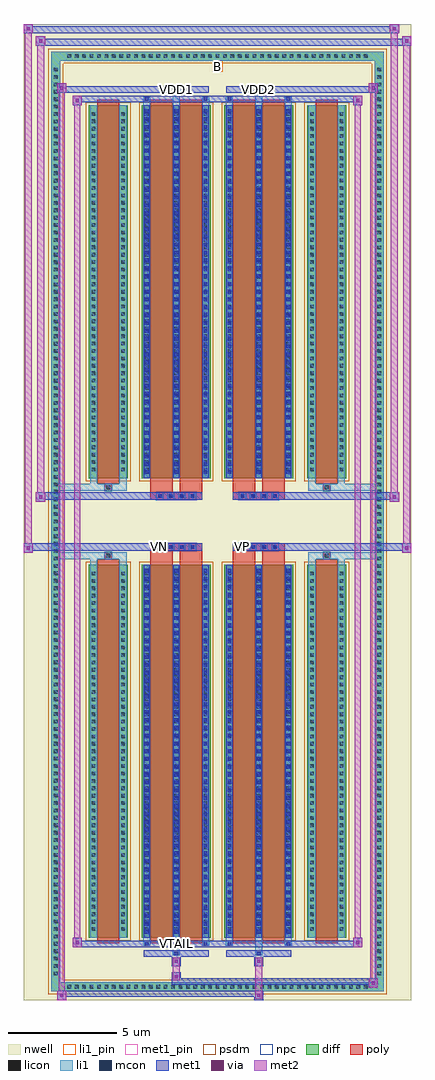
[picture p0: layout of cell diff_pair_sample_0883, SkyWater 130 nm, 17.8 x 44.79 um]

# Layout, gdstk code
import gdstk
lib = gdstk.Library(unit=1e-6, precision=5e-09)
def R(c, l, rs):  # rectangles x0, y0, x1, y1
    for r in rs: c.add(gdstk.rectangle(r[:2], r[2:], *l))
def A(c, l, x, y, w, h, nx, ny, dx, dy):  # array of equal rectangles
    R(c, l, [(x+i*dx, y+j*dy, x+i*dx+w, y+j*dy+h) for i in range(nx) for j in range(ny)])
def P(c, l, *ps):  # polygons
    for p in ps: c.add(gdstk.Polygon(p, *l))
nwell = (64, 20)
diff = (65, 20)
poly = (66, 20)
licon = (66, 44)
li1_pin = (67, 16)
li1 = (67, 20)
mcon = (67, 44)
met1_pin = (68, 16)
met1 = (68, 20)
via = (68, 44)
met2 = (69, 20)
psdm = (94, 20)
npc = (95, 20)

diff_pair_sample_0883 = lib.new_cell('diff_pair_sample_0883')
R(diff_pair_sample_0883, nwell, [(-8.9,-21.96,8.9,22.83), (-6.22,-20.15,-0.01,-0.805), (0.01,-20.15,6.22,-0.805), (-6.22,0.805,-0.01,20.15), (0.01,0.805,6.22,20.15)])
A(diff_pair_sample_0883, diff, -7.005, -21.56, 0.41, 0.41, 41, 2, 0.34, 42.71)
A(diff_pair_sample_0883, diff, -7.63, -20.945, 0.41, 0.41, 1, 123, 0, 0.34)
A(diff_pair_sample_0883, diff, 7.22, -20.945, 0.41, 0.41, 1, 123, 0, 0.34)
R(diff_pair_sample_0883, diff, [(-7.005,-21.56,7.005,-21.15), (-7.63,-20.945,-7.22,20.945), (7.22,-20.945,7.63,20.945), (-5.91,-19.105,-4.11,-1.985), (-3.47,-19.105,-0.32,-1.985), (0.32,-19.105,3.47,-1.985), (4.11,-19.105,5.91,-1.985), (-5.91,1.985,-4.11,19.105), (-3.47,1.985,-0.32,19.105), (0.32,1.985,3.47,19.105), (4.11,1.985,5.91,19.105), (-7.005,21.15,7.005,21.56)])
P(diff_pair_sample_0883, diff, [(7.63,21.56),(-7.63,21.56),(-7.63,-21.15),(-7.22,-21.15),(-7.22,21.15),(7.22,21.15),(7.22,-21.15),(-7.22,-21.15),(-7.63,-21.15),(-7.63,-21.56),(7.63,-21.56)])
A(diff_pair_sample_0883, poly, -2.81, -1.335, 0.33, 0.33, 4, 2, 0.5, 2.34)
A(diff_pair_sample_0883, poly, 0.98, -1.335, 0.33, 0.33, 4, 2, 0.5, 2.34)
R(diff_pair_sample_0883, poly, [(-5.52,-19.355,-4.5,-1.735), (-3.08,-19.355,-2.06,-1.735), (-1.73,-19.355,-0.71,-1.735), (0.71,-19.355,1.73,-1.735), (2.06,-19.355,3.08,-1.735), (4.5,-19.355,5.52,-1.735), (-5.175,-1.735,-4.845,-1.405), (-5.175,-1.735,-4.845,-1.405), (-3.08,-1.735,-2.06,-1.335), (-1.73,-1.735,-0.71,-1.335), (0.71,-1.735,1.73,-1.335), (2.06,-1.735,3.08,-1.335), (4.845,-1.735,5.175,-1.405), (4.845,-1.735,5.175,-1.405), (-3.08,-1.335,-0.71,-1.005), (0.71,-1.335,3.08,-1.005), (-3.08,1.005,-0.71,1.335), (0.71,1.005,3.08,1.335), (-3.08,1.335,-2.06,1.735), (-1.73,1.335,-0.71,1.735), (0.71,1.335,1.73,1.735), (2.06,1.335,3.08,1.735), (-5.175,1.405,-4.845,1.735), (-5.175,1.405,-4.845,1.735), (4.845,1.405,5.175,1.735), (4.845,1.405,5.175,1.735), (-5.52,1.735,-4.5,19.355), (-3.08,1.735,-2.06,19.355), (-1.73,1.735,-0.71,19.355), (0.71,1.735,1.73,19.355), (2.06,1.735,3.08,19.355), (4.5,1.735,5.52,19.355)])
A(diff_pair_sample_0883, licon, -6.885, -21.44, 0.17, 0.17, 41, 2, 0.34, 42.71)
A(diff_pair_sample_0883, licon, -7.51, -20.825, 0.17, 0.17, 1, 123, 0, 0.34)
A(diff_pair_sample_0883, licon, 7.34, -20.825, 0.17, 0.17, 1, 123, 0, 0.34)
A(diff_pair_sample_0883, licon, -5.77, -18.79, 0.17, 0.17, 1, 49, 0, 0.34)
A(diff_pair_sample_0883, licon, -4.42, -18.79, 0.17, 0.17, 1, 49, 0, 0.34)
A(diff_pair_sample_0883, licon, -3.33, -18.79, 0.17, 0.17, 3, 49, 1.35, 0.34)
A(diff_pair_sample_0883, licon, 0.46, -18.79, 0.17, 0.17, 3, 49, 1.35, 0.34)
A(diff_pair_sample_0883, licon, 4.25, -18.79, 0.17, 0.17, 1, 49, 0, 0.34)
A(diff_pair_sample_0883, licon, 5.6, -18.79, 0.17, 0.17, 1, 49, 0, 0.34)
A(diff_pair_sample_0883, licon, -2.73, -1.255, 0.17, 0.17, 4, 2, 0.5, 2.34)
A(diff_pair_sample_0883, licon, 1.06, -1.255, 0.17, 0.17, 4, 2, 0.5, 2.34)
A(diff_pair_sample_0883, licon, -5.77, 2.3, 0.17, 0.17, 1, 49, 0, 0.34)
A(diff_pair_sample_0883, licon, -4.42, 2.3, 0.17, 0.17, 1, 49, 0, 0.34)
A(diff_pair_sample_0883, licon, -3.33, 2.3, 0.17, 0.17, 3, 49, 1.35, 0.34)
A(diff_pair_sample_0883, licon, 0.46, 2.3, 0.17, 0.17, 3, 49, 1.35, 0.34)
A(diff_pair_sample_0883, licon, 4.25, 2.3, 0.17, 0.17, 1, 49, 0, 0.34)
A(diff_pair_sample_0883, licon, 5.6, 2.3, 0.17, 0.17, 1, 49, 0, 0.34)
R(diff_pair_sample_0883, licon, [(-5.095,-1.655,-4.925,-1.485), (4.925,-1.655,5.095,-1.485), (-5.095,1.485,-4.925,1.655), (4.925,1.485,5.095,1.655)])
R(diff_pair_sample_0883, li1_pin, [(-0.25,20.65,0.25,21.15)])
A(diff_pair_sample_0883, li1, -6.965, -21.52, 0.33, 0.33, 41, 2, 0.34, 42.71)
A(diff_pair_sample_0883, li1, -7.59, -20.905, 0.33, 0.33, 1, 123, 0, 0.34)
A(diff_pair_sample_0883, li1, 7.26, -20.905, 0.33, 0.33, 1, 123, 0, 0.34)
A(diff_pair_sample_0883, li1, -3.41, -19.105, 0.33, 17.12, 3, 2, 1.35, 21.09)
A(diff_pair_sample_0883, li1, 0.38, -19.105, 0.33, 17.12, 3, 2, 1.35, 21.09)
A(diff_pair_sample_0883, li1, -3.33, -18.91, 0.17, 0.17, 3, 47, 1.35, 0.36)
A(diff_pair_sample_0883, li1, -3.33, -18.91, 0.17, 16.73, 3, 2, 1.35, 21.09)
A(diff_pair_sample_0883, li1, 0.46, -18.91, 0.17, 0.17, 3, 47, 1.35, 0.36)
A(diff_pair_sample_0883, li1, 0.46, -18.91, 0.17, 16.73, 3, 2, 1.35, 21.09)
A(diff_pair_sample_0883, li1, -5.85, -18.87, 0.33, 0.33, 1, 49, 0, 0.34)
A(diff_pair_sample_0883, li1, -4.5, -18.87, 0.33, 0.33, 1, 49, 0, 0.34)
A(diff_pair_sample_0883, li1, -3.41, -18.87, 0.33, 0.33, 3, 49, 1.35, 0.34)
A(diff_pair_sample_0883, li1, 0.38, -18.87, 0.33, 0.33, 3, 49, 1.35, 0.34)
A(diff_pair_sample_0883, li1, 4.17, -18.87, 0.33, 0.33, 1, 49, 0, 0.34)
A(diff_pair_sample_0883, li1, 5.52, -18.87, 0.33, 0.33, 1, 49, 0, 0.34)
A(diff_pair_sample_0883, li1, -2.81, -1.335, 0.33, 0.33, 4, 2, 0.5, 2.34)
A(diff_pair_sample_0883, li1, 0.98, -1.335, 0.33, 0.33, 4, 2, 0.5, 2.34)
A(diff_pair_sample_0883, li1, -3.33, 2.18, 0.17, 0.17, 3, 47, 1.35, 0.36)
A(diff_pair_sample_0883, li1, 0.46, 2.18, 0.17, 0.17, 3, 47, 1.35, 0.36)
A(diff_pair_sample_0883, li1, -5.85, 2.22, 0.33, 0.33, 1, 49, 0, 0.34)
A(diff_pair_sample_0883, li1, -4.5, 2.22, 0.33, 0.33, 1, 49, 0, 0.34)
A(diff_pair_sample_0883, li1, -3.41, 2.22, 0.33, 0.33, 3, 49, 1.35, 0.34)
A(diff_pair_sample_0883, li1, 0.38, 2.22, 0.33, 0.33, 3, 49, 1.35, 0.34)
A(diff_pair_sample_0883, li1, 4.17, 2.22, 0.33, 0.33, 1, 49, 0, 0.34)
A(diff_pair_sample_0883, li1, 5.52, 2.22, 0.33, 0.33, 1, 49, 0, 0.34)
R(diff_pair_sample_0883, li1, [(-7.63,-21.56,-7.22,-21.15), (-7.63,-21.56,-7.22,-21.15), (-7.22,-21.56,7.22,-21.15), (7.22,-21.56,7.63,-21.15), (7.22,-21.56,7.63,-21.15), (-7.63,-21.15,-7.22,21.15), (7.22,-21.15,7.63,21.15), (-2.06,-19.91,-1.73,-19.105), (-1.98,-19.91,-1.81,-19.74), (1.73,-19.91,2.06,-19.105), (1.81,-19.91,1.98,-19.74), (-3.41,-19.48,-3.08,-19.105), (-3.33,-19.48,-3.16,-19.31), (-0.71,-19.48,-0.38,-19.105), (-0.63,-19.48,-0.46,-19.31), (0.38,-19.48,0.71,-19.105), (0.46,-19.48,0.63,-19.31), (3.08,-19.48,3.41,-19.105), (3.16,-19.48,3.33,-19.31), (-5.85,-19.105,-5.52,-1.985), (-4.5,-19.105,-4.17,-1.985), (4.17,-19.105,4.5,-1.985), (5.52,-19.105,5.85,-1.985), (-5.85,-1.985,-5.52,-1.405), (-4.5,-1.985,-4.17,-1.405), (4.17,-1.985,4.5,-1.405), (5.52,-1.985,5.85,-1.405), (-7.63,-1.735,-5.175,-1.405), (-5.85,-1.735,-5.175,-1.405), (-5.175,-1.735,-4.845,-1.405), (-4.845,-1.735,-4.17,-1.405), (4.17,-1.735,4.845,-1.405), (4.845,-1.735,5.175,-1.405), (4.845,-1.735,7.63,-1.405), (5.175,-1.735,5.85,-1.405), (-7.63,1.405,-5.175,1.735), (-5.85,1.405,-5.175,1.735), (-5.85,1.405,-5.52,1.985), (-5.175,1.405,-4.845,1.735), (-4.845,1.405,-4.17,1.735), (-4.5,1.405,-4.17,1.985), (4.17,1.405,4.845,1.735), (4.17,1.405,4.5,1.985), (4.845,1.405,5.175,1.735), (4.845,1.405,7.63,1.735), (5.175,1.405,5.85,1.735), (5.52,1.405,5.85,1.985), (-5.85,1.985,-5.52,19.105), (-4.5,1.985,-4.17,19.105), (4.17,1.985,4.5,19.105), (5.52,1.985,5.85,19.105), (-3.41,19.105,-3.08,19.48), (-2.06,19.105,-1.73,19.91), (-0.71,19.105,-0.38,19.48), (0.38,19.105,0.71,19.48), (1.73,19.105,2.06,19.91), (3.08,19.105,3.41,19.48), (-3.33,19.31,-3.16,19.48), (-0.63,19.31,-0.46,19.48), (0.46,19.31,0.63,19.48), (3.16,19.31,3.33,19.48), (-1.98,19.74,-1.81,19.91), (1.81,19.74,1.98,19.91), (-7.63,21.15,-7.22,21.56), (-7.63,21.15,-7.22,21.56), (-7.22,21.15,7.22,21.56), (7.22,21.15,7.63,21.56), (7.22,21.15,7.63,21.56)])
A(diff_pair_sample_0883, mcon, -3.33, -18.91, 0.17, 0.17, 3, 47, 1.35, 0.36)
A(diff_pair_sample_0883, mcon, 0.46, -18.91, 0.17, 0.17, 3, 47, 1.35, 0.36)
A(diff_pair_sample_0883, mcon, -2.73, -1.255, 0.17, 0.17, 4, 2, 0.5, 2.34)
A(diff_pair_sample_0883, mcon, 1.06, -1.255, 0.17, 0.17, 4, 2, 0.5, 2.34)
A(diff_pair_sample_0883, mcon, -3.33, 2.18, 0.17, 0.17, 3, 47, 1.35, 0.36)
A(diff_pair_sample_0883, mcon, 0.46, 2.18, 0.17, 0.17, 3, 47, 1.35, 0.36)
R(diff_pair_sample_0883, mcon, [(-1.98,-19.91,-1.81,-19.74), (1.81,-19.91,1.98,-19.74), (-3.33,-19.48,-3.16,-19.31), (-0.63,-19.48,-0.46,-19.31), (0.46,-19.48,0.63,-19.31), (3.16,-19.48,3.33,-19.31), (-3.33,19.31,-3.16,19.48), (-0.63,19.31,-0.46,19.48), (0.46,19.31,0.63,19.48), (3.16,19.31,3.33,19.48), (-1.98,19.74,-1.81,19.91), (1.81,19.74,1.98,19.91)])
R(diff_pair_sample_0883, met1_pin, [(-2.03,-19.52,-1.76,-19.25), (-2.78,-1.295,-2.51,-1.025), (1.01,-1.295,1.28,-1.025), (-2.03,19.7,-1.76,19.97), (1.76,19.7,2.03,19.97)])
A(diff_pair_sample_0883, met1, -3.39, -19.105, 0.29, 17.12, 3, 2, 1.35, 21.09)
A(diff_pair_sample_0883, met1, 0.4, -19.105, 0.29, 17.12, 3, 2, 1.35, 21.09)
A(diff_pair_sample_0883, met1, -3.39, -18.97, 0.29, 0.29, 3, 47, 1.35, 0.36)
A(diff_pair_sample_0883, met1, 0.4, -18.97, 0.29, 0.29, 3, 47, 1.35, 0.36)
A(diff_pair_sample_0883, met1, -2.79, -1.315, 0.29, 0.29, 4, 2, 0.5, 2.34)
A(diff_pair_sample_0883, met1, 1, -1.315, 0.29, 0.29, 4, 2, 0.5, 2.34)
A(diff_pair_sample_0883, met1, -3.39, 2.12, 0.29, 0.29, 3, 47, 1.35, 0.36)
A(diff_pair_sample_0883, met1, 0.4, 2.12, 0.29, 0.29, 3, 47, 1.35, 0.36)
R(diff_pair_sample_0883, met1, [(-7.36,-21.96,-6.93,-21.53), (1.68,-21.96,2.11,-21.53), (-7.36,-21.82,2.11,-21.53), (6.93,-21.39,7.36,-20.96), (-2.11,-21.25,7.36,-20.96), (-2.11,-21.11,-1.68,-20.68), (-2.11,-20.4,-1.68,-19.97), (1.68,-20.4,2.11,-19.97), (-3.39,-19.97,-0.4,-19.68), (-2.04,-19.97,-1.75,-19.68), (0.4,-19.97,3.39,-19.68), (1.75,-19.97,2.04,-19.68), (-6.65,-19.54,-6.22,-19.11), (-6.65,-19.54,-3.39,-19.25), (-3.39,-19.54,-3.1,-19.25), (-3.39,-19.54,-0.4,-19.25), (-0.69,-19.54,-0.4,-19.25), (-0.4,-19.54,0.4,-19.25), (0.4,-19.54,0.69,-19.25), (0.4,-19.54,3.39,-19.25), (3.1,-19.54,3.39,-19.25), (3.39,-19.54,6.65,-19.25), (6.22,-19.54,6.65,-19.11), (-8.9,-1.435,-8.47,-1.005), (8.47,-1.435,8.9,-1.005), (-8.9,-1.335,-0.71,-1.005), (-3.08,-1.335,-0.71,-1.005), (0.71,-1.335,3.08,-1.005), (0.71,-1.335,8.9,-1.005), (-8.33,0.905,-7.9,1.335), (7.9,0.905,8.33,1.335), (-8.33,1.005,-3.08,1.335), (-3.08,1.005,-0.71,1.335), (0.71,1.005,3.08,1.335), (3.08,1.005,8.33,1.335), (-6.65,19.11,-6.22,19.54), (6.22,19.11,6.65,19.54), (-6.65,19.25,-3.39,19.54), (-3.39,19.25,-3.1,19.54), (-3.39,19.25,-0.4,19.54), (-0.69,19.25,-0.4,19.54), (-0.4,19.25,0.4,19.54), (0.4,19.25,0.69,19.54), (0.4,19.25,3.39,19.54), (3.1,19.25,3.39,19.54), (3.39,19.25,6.65,19.54), (-7.36,19.68,-6.93,20.11), (-7.36,19.68,-3.39,19.97), (-3.39,19.68,-0.4,19.97), (-2.04,19.68,-1.75,19.97), (0.4,19.68,3.39,19.97), (1.75,19.68,2.04,19.97), (3.39,19.68,7.36,19.97), (6.93,19.68,7.36,20.11), (-8.33,21.83,-7.9,22.26), (-8.33,21.83,-6.22,22.16), (-6.22,21.83,6.22,22.16), (6.22,21.83,8.9,22.16), (8.47,21.83,8.9,22.26), (-8.9,22.4,-8.47,22.83), (-8.9,22.4,-6.22,22.73), (-6.22,22.4,6.22,22.73), (6.22,22.4,8.33,22.73), (7.9,22.4,8.33,22.83)])
R(diff_pair_sample_0883, via, [(-7.22,-21.82,-7.07,-21.67), (1.82,-21.82,1.97,-21.67), (7.07,-21.25,7.22,-21.1), (-1.97,-20.97,-1.82,-20.82), (-1.97,-20.26,-1.82,-20.11), (1.82,-20.26,1.97,-20.11), (-6.51,-19.4,-6.36,-19.25), (6.36,-19.4,6.51,-19.25), (-8.76,-1.295,-8.61,-1.145), (8.61,-1.295,8.76,-1.145), (-8.19,1.045,-8.04,1.195), (8.04,1.045,8.19,1.195), (-6.51,19.25,-6.36,19.4), (6.36,19.25,6.51,19.4), (-7.22,19.82,-7.07,19.97), (7.07,19.82,7.22,19.97), (-8.19,21.97,-8.04,22.12), (8.61,21.97,8.76,22.12), (-8.76,22.54,-8.61,22.69), (8.04,22.54,8.19,22.69)])
R(diff_pair_sample_0883, met2, [(-7.36,-21.96,-6.93,-21.53), (-7.29,-21.96,-7,20.11), (-7,-21.96,-6.93,-21.53), (-7.31,-21.91,-6.98,-21.58), (1.73,-21.91,2.06,-21.58), (1.73,-21.58,2.06,-20.35), (6.93,-21.39,7.36,-20.96), (7,-21.39,7.29,20.11), (7.29,-21.39,7.36,-20.96), (6.98,-21.34,7.31,-21.01), (-2.06,-21.06,-1.73,-20.73), (-2.06,-20.73,-1.73,-20.35), (-2.06,-20.35,-1.73,-20.02), (1.73,-20.35,2.06,-20.02), (-6.65,-19.54,-6.22,-19.11), (-6.58,-19.54,-6.29,19.54), (-6.29,-19.54,-6.22,-19.11), (6.22,-19.54,6.65,-19.11), (6.29,-19.54,6.58,19.54), (6.58,-19.54,6.65,-19.11), (-6.6,-19.49,-6.27,-19.16), (6.27,-19.49,6.6,-19.16), (-8.9,-1.435,-8.47,-1.005), (-8.85,-1.435,-8.52,22.83), (-8.52,-1.435,-8.47,-1.005), (8.47,-1.435,8.9,-1.005), (8.52,-1.435,8.85,22.26), (8.85,-1.435,8.9,-1.005), (-8.85,-1.385,-8.52,-1.055), (8.52,-1.385,8.85,-1.055), (-8.33,0.905,-7.9,1.335), (-8.28,0.905,-7.95,22.26), (-7.95,0.905,-7.9,1.335), (7.9,0.905,8.33,1.335), (7.95,0.905,8.28,22.83), (8.28,0.905,8.33,1.335), (-8.28,0.955,-7.95,1.285), (7.95,0.955,8.28,1.285), (-6.65,19.11,-6.22,19.54), (-6.29,19.11,-6.22,19.54), (6.22,19.11,6.65,19.54), (6.58,19.11,6.65,19.54), (-6.6,19.16,-6.27,19.49), (6.27,19.16,6.6,19.49), (-7.36,19.68,-6.93,20.11), (-7,19.68,-6.93,20.11), (6.93,19.68,7.36,20.11), (7.29,19.68,7.36,20.11), (-7.31,19.73,-6.98,20.06), (6.98,19.73,7.31,20.06), (-8.33,21.83,-7.9,22.26), (-7.95,21.83,-7.9,22.26), (8.47,21.83,8.9,22.26), (8.85,21.83,8.9,22.26), (-8.28,21.88,-7.95,22.21), (8.52,21.88,8.85,22.21), (-8.9,22.4,-8.47,22.83), (-8.52,22.4,-8.47,22.83), (7.9,22.4,8.33,22.83), (8.28,22.4,8.33,22.83), (-8.85,22.45,-8.52,22.78), (7.95,22.45,8.28,22.78)])
R(diff_pair_sample_0883, psdm, [(-6.04,-19.235,-3.98,-1.855), (-3.6,-19.235,-0.19,-1.855), (0.19,-19.235,3.6,-1.855), (3.98,-19.235,6.04,-1.855), (-6.04,1.855,-3.98,19.235), (-3.6,1.855,-0.19,19.235), (0.19,1.855,3.6,19.235), (3.98,1.855,6.04,19.235)])
P(diff_pair_sample_0883, psdm, [(7.76,21.69),(-7.76,21.69),(-7.76,-21.02),(-7.09,-21.02),(-7.09,21.02),(7.09,21.02),(7.09,-21.02),(-7.09,-21.02),(-7.76,-21.02),(-7.76,-21.69),(7.76,-21.69)])
A(diff_pair_sample_0883, npc, -2.83, -1.355, 0.37, 0.37, 4, 2, 0.5, 2.34)
A(diff_pair_sample_0883, npc, 0.96, -1.355, 0.37, 0.37, 4, 2, 0.5, 2.34)
R(diff_pair_sample_0883, npc, [(-5.195,-1.755,-4.825,-1.385), (4.825,-1.755,5.195,-1.385), (-2.83,-1.355,-1.96,-0.985), (-2.83,-1.355,-1.96,-0.985), (-2.33,-1.355,-1.46,-0.985), (-2.33,-1.355,-1.46,-0.985), (-1.83,-1.355,-0.96,-0.985), (-1.83,-1.355,-0.96,-0.985), (0.96,-1.355,1.83,-0.985), (0.96,-1.355,1.83,-0.985), (1.46,-1.355,2.33,-0.985), (1.46,-1.355,2.33,-0.985), (1.96,-1.355,2.83,-0.985), (1.96,-1.355,2.83,-0.985), (-2.83,0.985,-1.96,1.355), (-2.83,0.985,-1.96,1.355), (-2.33,0.985,-1.46,1.355), (-2.33,0.985,-1.46,1.355), (-1.83,0.985,-0.96,1.355), (-1.83,0.985,-0.96,1.355), (0.96,0.985,1.83,1.355), (0.96,0.985,1.83,1.355), (1.46,0.985,2.33,1.355), (1.46,0.985,2.33,1.355), (1.96,0.985,2.83,1.355), (1.96,0.985,2.83,1.355), (-5.195,1.385,-4.825,1.755), (4.825,1.385,5.195,1.755)])
diff_pair_sample_0883.add(gdstk.Label('VTAIL', (-1.895,-19.385), layer=68, texttype=5))
diff_pair_sample_0883.add(gdstk.Label('VN', (-2.645,-1.16), layer=68, texttype=5))
diff_pair_sample_0883.add(gdstk.Label('VP', (1.145,-1.16), layer=68, texttype=5))
diff_pair_sample_0883.add(gdstk.Label('B', (0,20.9), layer=67, texttype=5))
diff_pair_sample_0883.add(gdstk.Label('VDD2', (1.895,19.835), layer=68, texttype=5))
diff_pair_sample_0883.add(gdstk.Label('VDD1', (-1.895,19.835), layer=68, texttype=5))

lib.write_gds('diff_pair_sample_0883.gds')
